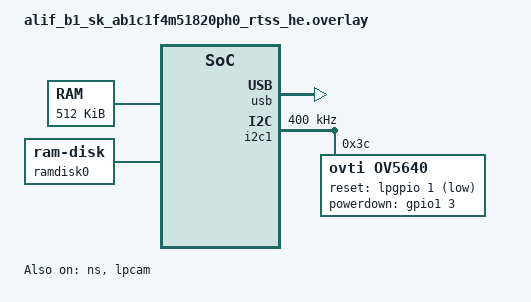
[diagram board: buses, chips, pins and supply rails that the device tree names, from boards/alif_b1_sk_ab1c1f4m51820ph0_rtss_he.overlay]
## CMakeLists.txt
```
# Copyright (C) 2026 Alif Semiconductor
# SPDX-License-Identifier: Apache-2.0

cmake_minimum_required(VERSION 3.20.0)
find_package(Zephyr REQUIRED HINTS $ENV{ZEPHYR_BASE})
project(video_usbout)

include(${ZEPHYR_BASE}/samples/subsys/usb/common/common.cmake)
FILE(GLOB app_sources src/*c)
target_sources(app PRIVATE ${app_sources})
```

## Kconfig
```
# Copyright (C) 2026 Alif Semiconductor
# SPDX-License-Identifier: Apache-2.0

# Source common USB sample options used to initialize USB device stack.
source "samples/subsys/usb/common/Kconfig.sample_usbd"

config VIDEO_USBOUT_INTERACTIVE_CONFIG
	bool "Interactive OV5640 register configuration over UART"
	help
	  When enabled, the sample drops into a UART menu after sensor
	  initialization. The menu reads back the current values of a
	  curated set of OV5640 registers (AWB mode and R/G/B gains,
	  AEC mode and PK exposure, AGC PK gain, JPEG Q factor) and lets
	  the user override them register by register. Press 'c' to leave
	  the menu and continue to capture with the chosen values.

source "Kconfig.zephyr"
```

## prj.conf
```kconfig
# Copyright (C) 2026 Alif Semiconductor
# SPDX-License-Identifier: Apache-2.0

# Video
CONFIG_VIDEO=y
CONFIG_LOG=y
CONFIG_PRINTK=y
CONFIG_STDOUT_CONSOLE=y
CONFIG_I2C_TARGET=y
CONFIG_I2C=y
CONFIG_I2C_DW_CLOCK_SPEED=100
CONFIG_SYS_HEAP_AUTO=y

# USB Mass Storage (new USB device stack, required for DWC3)
CONFIG_USB_DEVICE_STACK_NEXT=y
CONFIG_USBD_MSC_CLASS=y
CONFIG_SAMPLE_USBD_PID=0x0008
CONFIG_SAMPLE_USBD_PRODUCT="Alif Video Capture"
CONFIG_MAIN_STACK_SIZE=2048

# RAM Disk
CONFIG_DISK_ACCESS=y
CONFIG_DISK_DRIVER_RAM=y

# FAT Filesystem
CONFIG_FILE_SYSTEM=y
CONFIG_FAT_FILESYSTEM_ELM=y

# Quiet the USB stack — keep warnings/errors but drop the per-transfer INFOs.
CONFIG_UDC_DRIVER_LOG_LEVEL_ERR=y
CONFIG_USBD_LOG_LEVEL_ERR=y
CONFIG_USBD_MSC_LOG_LEVEL_ERR=y

# Console line input — only used by VIDEO_USBOUT_INTERACTIVE_CONFIG, but
# CONSOLE_GETLINE is a Kconfig choice symbol so we can't `select` it from
# our sample option; enable it here so the menu is available when the
# user flips VIDEO_USBOUT_INTERACTIVE_CONFIG on.
CONFIG_VIDEO_USBOUT_INTERACTIVE_CONFIG=y
CONFIG_CONSOLE_SUBSYS=y
CONFIG_CONSOLE_GETLINE=y
```

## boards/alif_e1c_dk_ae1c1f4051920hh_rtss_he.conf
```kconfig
# Must be slightly larger than JPEG_CAPTURE_MAX_BYTES in main.c to cover
# k_heap block header and alignment overhead (typically 8-16 bytes).
# 280 KB data + 1 KB overhead = 287744
CONFIG_VIDEO_BUFFER_POOL_SZ_MAX=431616
CONFIG_VIDEO_BUFFER_POOL_NUM_MAX=1
```

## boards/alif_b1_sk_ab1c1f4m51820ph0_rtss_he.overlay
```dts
/* Copyright (C) 2026 Alif Semiconductor - All Rights Reserved.
 * Use, distribution and modification of this code is permitted under the
 * terms stated in the Alif Semiconductor Software License Agreement
 *
 * You should have received a copy of the Alif Semiconductor Software
 * License Agreement with this file. If not, please write to:
 * contact@alifsemi.com, or visit: https://alifsemi.com/license
 *
 */

#include <dt-bindings/pinctrl/balletto-pinctrl.h>
#include <dt-bindings/i2c/i2c.h>
#include <dt-bindings/gpio/gpio.h>
#include <dt-bindings/video/video-interfaces.h>

/*
 * DTCM is 1536K (0x20000000..0x20180000). B1 layout for this sample:
 *
 *   [0x20000000 .. 0x2000A000)   40K  reserved_dtcm
 *   [0x2000A000 .. 0x20020000)        Zephyr core (.data/.bss/heap/stacks;
 *                                     only ~18K used)
 *   [0x20020000 .. 0x200A0000)  512K  RAMDISK: USB MSC RAM disk (ram-region)
 *   [0x200A0000 .. 0x200C0000)  128K  UNUSABLE on B1: this DTCM bank is not
 *                                     backed - writes fault (see RAM disk note)
 *   [0x200C0000 .. 0x20180000)  768K  NON_SECURE0 (this node): USB DMA
 *                                     buffers + video capture pool
 *                                     (.alif_ns section, soc/.../alif_ns.ld)
 *
 * Do NOT shrink the &dtcm node reg to carve these out: local_to_global()
 * (modules/hal/alif) maps DTCM local addresses to the global bus address every
 * DMA master (CPI, USB, ...) uses, via DT_REG_SIZE(dtcm). A short reg puts
 * NON_SECURE0 (0x200C0000) outside that range, so the CPI/USB DMA writes to an
 * untranslated address and the bus returns DECERR (AXI BRESP=3). RAMDISK and
 * NON_SECURE0 therefore overlap the full DTCM/zephyr,sram space but sit at fixed
 * addresses the kernel leaves unused - as .alif_ns already does.
 *
 * The video pool (camera DMA target) and the USB buffers must live in
 * NON_SECURE0, so growing the capture buffer means growing this region.
 *
 * CRITICAL: the base AND size must be aligned to the DTCM TGU block size.
 * At boot sau_tcm_ns_setup() (modules/hal/alif) marks this region non-secure
 * in BOTH the SAU (exact, 32-byte granular) and the TGU (whole DTCM blocks,
 * via integer division - see tgu.c). If the base is not block-aligned the
 * TGU marks the partial block below it non-secure while the SAU keeps it
 * secure; any secure access into that window then faults (BusFault/MemManage).
 * The DTCM TGU block on B1 is 128K; 0x200C0000 is 768K (6*128K) from the DTCM
 * base, which is block-aligned. Do not give this an unaligned base.
 *
 * Keep in sync with CONFIG_VIDEO_BUFFER_POOL_SZ_MAX (.conf),
 * JPEG_CAPTURE_MAX_BYTES (main.c) and the RAM disk size below.
 */
ns: &ns {
	status = "okay";
	reg = < 0x200C0000 DT_SIZE_K(768)>;
};

/* USB */
zephyr_udc0: &usb {
	status = "okay";
};

/*
 * RAM Disk for USB MSC. The balletto SoC linker force-routes .bss.disk_buf_0
 * into NON_SECURE0 (soc/.../alif_ns.ld), where it would collide with the 673K
 * video pool. Give the disk its own DTCM region via ram-region instead: with a
 * ram-region phandle the driver emits no disk_buf_0 symbol (ramdisk.c), so that
 * KEEP line matches nothing and the shared SoC linker needs no edit.
 *
 * The region is 512K and ends at 0x200A0000: although &dtcm claims 1496K, the
 * 128K DTCM bank at 0x200A0000..0x200C0000 is not backed on B1 (a write there
 * faults with a precise bus error - confirmed by memset), so the disk must stop
 * below it. 512K holds a ~470K JPEG + FAT; a larger frame (up to the 672K
 * JPEG_CAPTURE_MAX_BYTES worst case) is dropped by the sample's short-write
 * check rather than corrupting memory. The region overlaps zephyr,sram but the
 * kernel (only ~18K of core .bss, no large heap) never reaches it - see the
 * DECERR note above for why &dtcm stays full.
 */
/ {
	ramdisk_mem: memory@20020000 {
		compatible = "zephyr,memory-region";
		reg = <0x20020000 DT_SIZE_K(512)>;
		zephyr,memory-region = "RAMDISK";
	};

	ramdisk0 {
		compatible = "zephyr,ram-disk";
		ram-region = <&ramdisk_mem>;
		disk-name = "RAM";
		sector-size = <512>;
		sector-count = <1024>;
	};
};

/*
 * Override gpio1 pinctrl to exclude P1_0 (JTAG_TMS), P1_1 (JTAG_TDI) and
 * P1_2 (JTAG_TDO) which are connected to the JTAG debug connector on the
 * B1 SK board. The default pinctrl_gpio1 covers the full port and would
 * remux those pads to GPIO, breaking the debug interface.
 */
&pinctrl {
	pinctrl_gpio1_video: pinctrl_gpio1_video {
		group0 {
			pinmux = <PIN_P1_3__GPIO>,
				 <PIN_P1_4__GPIO>,
				 <PIN_P1_5__GPIO>,
				 <PIN_P1_6__GPIO>,
				 <PIN_P1_7__GPIO>;
			read-enable = <0x1>;
		};
	};
};

&gpio1 {
	pinctrl-0 = <&pinctrl_gpio1_video>;
	status = "okay";
};

&lpgpio {
	status = "okay";
};

&i2c1 {
	status = "okay";
	clock-frequency = <I2C_BITRATE_FAST>;
	hcnt-offset = <10>;
	lcnt-offset = <10>;

	ov5640: ov5640@3c{
		compatible = "ovti,ov5640";
		reg = <0x3c>;
		status = "okay";
		reset-gpios = <&lpgpio 1 GPIO_ACTIVE_LOW>;
		powerdown-gpios = <&gpio1 3 GPIO_ACTIVE_HIGH>;

		port {
			ov5640_ep_out: endpoint {
				bus-type = <VIDEO_BUS_TYPE_PARALLEL>;
				remote-endpoint-label = "lpcam_ep_in";
			};
		};
	};
};

&lpcam {
	status = "okay";
	cpi-interface = "parallel";
	ports {
		#address-cells = <1>;
		#size-cells = <0>;

		/* Camera Input Endpoint. For LP-CAM it is only camera */
		port@0 {
			reg = <0>;
			lpcam_ep_in: endpoint {
				remote-endpoint-label = "ov5640_ep_out";
			};
		};

		/* Video buffer output endpoint. */
		port@1 {
			reg = <1>;
			cam_mem_ep_out: endpoint {
				remote-endpoint-label = "application";
			};
		};
	};
};
```

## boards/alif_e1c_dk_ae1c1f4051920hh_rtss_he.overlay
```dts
/* Copyright (C) 2026 Alif Semiconductor - All Rights Reserved.
 * Use, distribution and modification of this code is permitted under the
 * terms stated in the Alif Semiconductor Software License Agreement
 *
 * You should have received a copy of the Alif Semiconductor Software
 * License Agreement with this file. If not, please write to:
 * contact@alifsemi.com, or visit: https://alifsemi.com/license
 *
 */

#include <dt-bindings/pinctrl/balletto-pinctrl.h>
#include <dt-bindings/i2c/i2c.h>
#include <dt-bindings/gpio/gpio.h>
#include <dt-bindings/video/video-interfaces.h>

&ns {
	status = "okay";
};

/* USB */
zephyr_udc0: &usb {
	status = "okay";
};

/* RAM Disk for USB MSC - sized for captured image + FAT overhead */
/ {
	ramdisk0 {
		compatible = "zephyr,ram-disk";
		disk-name = "RAM";
		sector-size = <512>;
		sector-count = <600>;
	};
};

/* Camera */
&i2c0 {
	status = "okay";

	mt9m114: mt9m114@48{
		compatible = "aptina,mt9m114";
		reg = <0x48>;
		status = "okay";

		port {
			mt9m114_ep_out: endpoint {
				bus-type = <VIDEO_BUS_TYPE_PARALLEL>;
				remote-endpoint-label = "lpcam_ep_in";
			};
		};
	};
};

&lpcam {
	status = "okay";
	cpi-interface = "parallel";
	ports {
		#address-cells = <1>;
		#size-cells = <0>;

		port@0 {
			reg = <0>;
			lpcam_ep_in: endpoint {
				remote-endpoint-label = "mt9m114_ep_out";
			};
		};

		port@1 {
			reg = <1>;
			cam_mem_ep_out: endpoint {
				remote-endpoint-label = "application";
			};
		};
	};
};
```

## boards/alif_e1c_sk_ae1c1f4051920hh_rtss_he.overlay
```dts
/* Copyright (C) 2026 Alif Semiconductor - All Rights Reserved.
 * Use, distribution and modification of this code is permitted under the
 * terms stated in the Alif Semiconductor Software License Agreement
 *
 * You should have received a copy of the Alif Semiconductor Software
 * License Agreement with this file. If not, please write to:
 * contact@alifsemi.com, or visit: https://alifsemi.com/license
 *
 */

#include <dt-bindings/pinctrl/ensemble-e1c-pinctrl.h>
#include <dt-bindings/i2c/i2c.h>
#include <dt-bindings/gpio/gpio.h>
#include <dt-bindings/video/video-interfaces.h>

/*
 * DTCM is 1536K (0x20000000..0x20180000), split at 0x200C0000:
 *
 *   [0x20000000 .. 0x200C0000)  768K  Zephyr core (.data/.bss/heap/stacks)
 *                                     + the USB MSC RAM disk (disk_buf_0)
 *   [0x200C0000 .. 0x20180000)  768K  NON_SECURE0 (this node): USB DMA
 *                                     buffers + video capture pool
 *                                     (.alif_ns section, soc/.../alif_ns.ld)
 *
 * The video pool (camera DMA target) and the USB buffers must live in
 * NON_SECURE0, so growing the capture buffer means growing this region.
 *
 * CRITICAL: the base AND size must be aligned to the DTCM TGU block size.
 * At boot sau_tcm_ns_setup() (modules/hal/alif) marks this region non-secure
 * in BOTH the SAU (exact, 32-byte granular) and the TGU (whole DTCM blocks,
 * via integer division - see tgu.c). If the base is not block-aligned the
 * TGU marks the partial block below it non-secure while the SAU keeps it
 * secure; any secure access into that window then faults (BusFault/MemManage).
 * The DTCM TGU block on E1C is >= 64K; 0x200C0000 is 256K-aligned, which is
 * safe for any plausible block size. Do not give this an unaligned base.
 *
 * Keep in sync with CONFIG_VIDEO_BUFFER_POOL_SZ_MAX (.conf),
 * JPEG_CAPTURE_MAX_BYTES (main.c) and the RAM disk size below.
 */
ns: &ns {
	status = "okay";
	reg = < 0x200C0000 DT_SIZE_K(768)>;
};

/* USB */
zephyr_udc0: &usb {
	status = "okay";
};

/*
 * RAM Disk for USB MSC - holds the captured JPEG plus FAT overhead, so it
 * must be at least as large as the capture buffer (JPEG_CAPTURE_MAX_BYTES).
 * Lives in plain .bss below NON_SECURE0. 1440 * 512 = 720K = 672K capture
 * buffer + 48K FAT12/16 overhead.
 */
/ {
	ramdisk0 {
		compatible = "zephyr,ram-disk";
		disk-name = "RAM";
		sector-size = <512>;
		sector-count = <1440>;
	};
};

/*
 * Override gpio1 pinctrl to exclude P1_0 (JTAG_TMS), P1_1 (JTAG_TDI) and
 * P1_2 (JTAG_TDO) which are connected to the JTAG debug connector on the
 * E1C SK board. The default pinctrl_gpio1 covers the full port and would
 * remux those pads to GPIO, breaking the debug interface.
 */
&pinctrl {
	pinctrl_gpio1_video: pinctrl_gpio1_video {
		group0 {
			pinmux = <PIN_P1_3__GPIO>,
				 <PIN_P1_4__GPIO>,
				 <PIN_P1_5__GPIO>,
				 <PIN_P1_6__GPIO>,
				 <PIN_P1_7__GPIO>;
			read-enable = <0x1>;
		};
	};
};

&gpio1 {
	pinctrl-0 = <&pinctrl_gpio1_video>;
	status = "okay";
};

&lpgpio {
	status = "okay";
};

&i2c1 {
	status = "okay";
	clock-frequency = <I2C_BITRATE_FAST>;
	hcnt-offset = <10>;
	lcnt-offset = <10>;

	ov5640: ov5640@3c{
		compatible = "ovti,ov5640";
		reg = <0x3c>;
		status = "okay";
		reset-gpios = <&lpgpio 1 GPIO_ACTIVE_LOW>;
		powerdown-gpios = <&gpio1 3 GPIO_ACTIVE_HIGH>;

		port {
			ov5640_ep_out: endpoint {
				bus-type = <VIDEO_BUS_TYPE_PARALLEL>;
				remote-endpoint-label = "lpcam_ep_in";
			};
		};
	};
};

&lpcam {
	status = "okay";
	cpi-interface = "parallel";
	ports {
		#address-cells = <1>;
		#size-cells = <0>;

		/* Camera Input Endpoint. For LP-CAM it is only camera */
		port@0 {
			reg = <0>;
			lpcam_ep_in: endpoint {
				remote-endpoint-label = "ov5640_ep_out";
			};
		};

		/* Video buffer output endpoint. */
		port@1 {
			reg = <1>;
			cam_mem_ep_out: endpoint {
				remote-endpoint-label = "application";
			};
		};
	};
};
```

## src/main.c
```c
/*
 * Copyright (C) 2026 Alif Semiconductor.
 * SPDX-License-Identifier: Apache-2.0
 *
 * OV5640 JPEG capture exposed as a file on USB mass storage.
 *
 * On boot the camera pipeline is initialized, one snapshot is captured,
 * written to a FAT filesystem on a RAM disk and exposed over USB MSC so
 * the host PC sees it as a removable drive containing capture.jpg.
 */

#include <sample_usbd.h>

#include <zephyr/kernel.h>
#include <zephyr/device.h>
#include <zephyr/drivers/video.h>
#include <zephyr/drivers/gpio.h>
#include <zephyr/usb/usbd.h>
#include <zephyr/usb/class/usbd_msc.h>
#include <zephyr/fs/fs.h>
#include <ff.h>
#include <soc_common.h>
#include <se_service.h>
#include <string.h>

#ifdef CONFIG_VIDEO_USBOUT_INTERACTIVE_CONFIG
#include "cam_config.h"
#endif

#include <zephyr/logging/log.h>
LOG_MODULE_REGISTER(video_usbout, LOG_LEVEL_INF);

/*
 * JPEG capture buffer size, maximised for this board. The buffer is carved
 * from the video pool in the NON_SECURE0 region, and the captured frame is
 * stored on the USB RAM disk, so this value is bounded by both:
 *   - CONFIG_VIDEO_BUFFER_POOL_SZ_MAX (board .conf) must be this plus ~1.5 KB
 *     for k_heap block headers / alignment overhead.
 *   - the RAM disk (.overlay) must be at least this big plus FAT overhead.
 * Keep all three in sync. See the .overlay for the DTCM memory budget.
 */
#define JPEG_CAPTURE_MAX_BYTES (672U * 1024U)

/*
 * Alignment of the capture buffer in DTCM. The CPI/LPCAM driver only requires
 * 8-byte alignment for the AXI frame address, but on enqueue it does a
 * sys_cache_data_flush_and_invd_range() over the whole buffer. Over-aligning
 * the start to 128 bytes (and JPEG_CAPTURE_MAX_BYTES is a multiple of 128, so
 * the end lands on a boundary too) keeps that cache maintenance from touching
 * the neighbouring USB buffers / heap metadata in the NON_SECURE0 region.
 */
#define CAPTURE_BUF_ALIGN 128U

#define CAPTURE_FILE_PATH "/RAM:/capture.jpg"

USBD_DEFINE_MSC_LUN(ram, "RAM", "Alif", "VideoCapture", "0.01");

static FATFS fat_fs;
static struct fs_mount_t fs_mnt = {
	.type = FS_FATFS,
	.fs_data = &fat_fs,
	.mnt_point = "/RAM:",
};

/*
 * Scan a captured buffer for the JPEG EOI marker and report the compressed
 * size. Parses past the SOS (Start of Scan) marker first so an EOI inside
 * an EXIF thumbnail is not mistakenly reported. JPEG byte-stuffing
 * guarantees 0xFF 0xD9 cannot appear as a false positive within the
 * entropy-coded data.
 */
static int find_jpeg_size(const uint8_t *bytes, size_t bsize)
{
	int scan_from = 2;
	int pos = 2;

	if (bytes[0] != 0xFF || bytes[1] != 0xD8) {
		LOG_ERR("No JPEG SOI marker (got %02x %02x)",
			bytes[0], bytes[1]);
		return -EIO;
	}

	while (pos < (int)bsize - 3) {
		if (bytes[pos] != 0xFF) {
			break;
		}
		uint8_t marker = bytes[pos + 1];

		if (marker == 0xDA) {
			uint16_t seg_len =
				((uint16_t)bytes[pos + 2] << 8) |
				bytes[pos + 3];
			scan_from = pos + 2 + seg_len;
			break;
		}
		if (marker == 0x00 || marker == 0x01 ||
		    (marker >= 0xD0 && marker <= 0xD9)) {
			pos += 2;
			continue;
		}
		uint16_t seg_len =
			((uint16_t)bytes[pos + 2] << 8) | bytes[pos + 3];
		pos += 2 + seg_len;
	}

	for (int j = scan_from; j < (int)bsize - 1; j++) {
		if (bytes[j] == 0xFF && bytes[j + 1] == 0xD9) {
			return j + 2;
		}
	}

	LOG_ERR("JPEG EOI not found in %zu byte buffer", bsize);
	return -EIO;
}

static int capture_one_jpeg(const struct device *video,
			    struct video_buffer *buf, size_t bsize)
{
	struct video_buffer *vbuf;
	int jpeg_size;
	int ret;

	ret = video_enqueue(video, VIDEO_EP_OUT, buf);
	if (ret) {
		LOG_ERR("Unable to enqueue buf: %d", ret);
		return ret;
	}

	ret = video_stream_start(video);
	if (ret) {
		LOG_ERR("Unable to start capture: %d", ret);
		return ret;
	}
	LOG_INF("Capture started");

	/*
	 * The CPI driver stops capture on the 2nd VSYNC (end-of-frame) and
	 * moves the buffer to fifo_out. Block on video_dequeue until that
	 * happens, then scan the buffer for the JPEG EOI marker.
	 */
	ret = video_dequeue(video, VIDEO_EP_OUT, &vbuf, K_FOREVER);
	if (ret) {
		LOG_ERR("Unable to dequeue video buf: %d", ret);
		return ret;
	}
	LOG_INF("Frame captured, scanning for JPEG EOI...");

	jpeg_size = find_jpeg_size(vbuf->buffer, bsize);
	if (jpeg_size < 0) {
		return jpeg_size;
	}

	vbuf->bytesused = jpeg_size;
	LOG_INF("JPEG EOI at offset %d (%d KB), timestamp %u ms",
		jpeg_size, jpeg_size / 1024, vbuf->timestamp);

	video_flush(video, VIDEO_EP_OUT, false);
	ret = video_stream_stop(video);
	if (ret) {
		LOG_ERR("Unable to stop capture: %d", ret);
	}
	return 0;
}

static int write_capture_to_file(const struct video_buffer *vbuf)
{
	struct fs_file_t file;
	ssize_t written;
	int ret;

	fs_file_t_init(&file);
	ret = fs_open(&file, CAPTURE_FILE_PATH, FS_O_CREATE | FS_O_WRITE);
	if (ret) {
		LOG_ERR("Failed to open %s: %d", CAPTURE_FILE_PATH, ret);
		return ret;
	}

	written = fs_write(&file, vbuf->buffer, vbuf->bytesused);
	if (written < 0) {
		LOG_ERR("Failed to write %s: %d",
			CAPTURE_FILE_PATH, (int)written);
		fs_close(&file);
		return (int)written;
	}

	fs_close(&file);

	if ((size_t)written < vbuf->bytesused) {
		LOG_ERR("Short write to %s: %d of %u bytes (disk full?)",
			CAPTURE_FILE_PATH, (int)written, vbuf->bytesused);
		return -ENOSPC;
	}

	LOG_INF("Wrote %d bytes to %s", (int)written, CAPTURE_FILE_PATH);
	return 0;
}

int main(void)
{
	struct video_format fmt = { 0 };
	struct video_caps caps;
	const struct device *video;
	struct video_buffer *buf;
	struct usbd_context *sample_usbd;
	size_t bsize;
	int ret;
	int i = 0;

	video = DEVICE_DT_GET_ONE(alif_cam);

	if (!device_is_ready(video)) {
		LOG_ERR("%s: device not ready.", video->name);
		return -1;
	}
	LOG_INF("- Device name: %s", video->name);

	if (video_get_caps(video, VIDEO_EP_OUT, &caps)) {
		LOG_ERR("Unable to retrieve video capabilities");
		return -1;
	}

	while (caps.format_caps[i].pixelformat) {
		const struct video_format_cap *fcap = &caps.format_caps[i];

		if (fcap->pixelformat == VIDEO_PIX_FMT_JPEG) {
			fmt.pixelformat = VIDEO_PIX_FMT_JPEG;
			fmt.width = 2592;
			fmt.height = 1944;
		}
		i++;
	}

	if (fmt.pixelformat == 0) {
		LOG_ERR("JPEG pixel format not advertised by sensor.");
		return -1;
	}

	fmt.pitch = fmt.width;

	ret = video_set_format(video, VIDEO_EP_OUT, &fmt);
	if (ret) {
		LOG_ERR("Failed to set video format: %d", ret);
		return -1;
	}
	LOG_INF("- format: JPEG %ux%u", fmt.width, fmt.height);

	bsize = MIN((size_t)JPEG_CAPTURE_MAX_BYTES,
		    (size_t)fmt.width * fmt.height);

	buf = video_buffer_aligned_alloc(bsize, CAPTURE_BUF_ALIGN, K_NO_WAIT);
	if (buf == NULL) {
		LOG_ERR("Unable to alloc video buffer");
		return -1;
	}
	LOG_INF("- capture buffer: %zu bytes at 0x%08x",
		bsize, (uint32_t)buf->buffer);

#ifdef CONFIG_VIDEO_USBOUT_INTERACTIVE_CONFIG
	cam_interactive_config();
#endif

#if DT_NODE_EXISTS(DT_NODELABEL(ramdisk_mem))
	/* B1 puts the RAM disk in a NOLOAD ram-region, so the C runtime does not
	 * zero it; DTCM has ECC and a host read of a never-written sector faults
	 * on uninitialised ECC. Prime the whole region so every sector reads back
	 * clean. (E1C keeps the disk in .bss, which is already zeroed.) */
	memset((void *)DT_REG_ADDR(DT_NODELABEL(ramdisk_mem)), 0,
	       DT_REG_SIZE(DT_NODELABEL(ramdisk_mem)));
#endif

	ret = fs_mount(&fs_mnt);
	if (ret) {
		LOG_ERR("Failed to mount FAT filesystem: %d", ret);
		return -1;
	}
	LOG_INF("FAT filesystem mounted on %s", fs_mnt.mnt_point);

	ret = capture_one_jpeg(video, buf, bsize);
	if (ret) {
		return ret;
	}

	ret = write_capture_to_file(buf);
	if (ret) {
		return ret;
	}

	sample_usbd = sample_usbd_init_device(NULL);
	if (sample_usbd == NULL) {
		LOG_ERR("Failed to initialize USB device");
		return -1;
	}

	ret = usbd_enable(sample_usbd);
	if (ret) {
		LOG_ERR("Failed to enable USB: %d", ret);
		return -1;
	}
	LOG_INF("USB mass storage enabled — %s available on host.",
		CAPTURE_FILE_PATH);

	return 0;
}

static int app_set_parameters(void)
{
	run_profile_t runp = { 0 };
	int ret;

	runp.power_domains  = PD_SYST_MASK | PD_SSE700_AON_MASK | PD_DBSS_MASK;
	runp.dcdc_voltage   = 825;
	runp.dcdc_mode      = DCDC_MODE_PWM;
	runp.aon_clk_src    = CLK_SRC_LFXO;
	runp.run_clk_src    = CLK_SRC_PLL;
	runp.vdd_ioflex_3V3 = IOFLEX_LEVEL_1V8;
	runp.cpu_clk_freq   = CLOCK_FREQUENCY_160MHZ;

	runp.memory_blocks = MRAM_MASK;
#if DT_NODE_EXISTS(DT_NODELABEL(sram0))
	runp.memory_blocks |= SRAM0_MASK;
#endif

	runp.phy_pwr_gating  = MIPI_TX_DPHY_MASK | MIPI_RX_DPHY_MASK |
			       MIPI_PLL_DPHY_MASK | LDO_PHY_MASK | USB_PHY_MASK;
	runp.ip_clock_gating = CAMERA_MASK | MIPI_CSI_MASK | MIPI_DSI_MASK |
			       USB_MASK;

	ret = se_service_set_run_cfg(&runp);
	if (ret) {
		__ASSERT(false, "SE: set_run_cfg failed = %d", ret);
		return ret;
	}

	/* LPCAM pixel clock and OV5640 enable-buffer GPIO. */
	sys_write32(0x080001, M55HE_CFG_HE_CAMERA_PIXCLK);

	const struct gpio_dt_spec cam_enbuf =
		GPIO_DT_SPEC_GET(DT_NODELABEL(cam_enbuf), enbuf_gpios);

	gpio_pin_configure_dt(&cam_enbuf, GPIO_OUTPUT_ACTIVE);

	return 0;
}

SYS_INIT(app_set_parameters, PRE_KERNEL_1, 46);
```

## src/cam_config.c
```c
/*
 * Copyright (C) 2026 Alif Semiconductor.
 * SPDX-License-Identifier: Apache-2.0
 *
 * Interactive UART menu to inspect and tweak OV5640 registers before
 * capture. Talks to the sensor directly over the same I2C bus the
 * driver uses — the driver has already powered the sensor up and
 * programmed it in ov5640_set_fmt(), so register writes here override
 * those defaults and survive into the first capture.
 */

#include "cam_config.h"

#include <stdint.h>
#include <stdlib.h>
#include <string.h>

#include <zephyr/kernel.h>
#include <zephyr/device.h>
#include <zephyr/drivers/i2c.h>
#include <zephyr/console/console.h>
#include <zephyr/sys/printk.h>

#define OV5640_NODE DT_NODELABEL(ov5640)
static const struct i2c_dt_spec ov5640_i2c = I2C_DT_SPEC_GET(OV5640_NODE);

struct reg_entry {
	const char *name;
	uint16_t addr;
	uint8_t nbytes;
	const char *hint;
};

/*
 * Registers worth exposing in the menu. Multi-byte entries are written
 * MSB-first using OV5640's natural register layout (e.g. AEC PK EXPOSURE
 * spans 0x3500..0x3502 as 4+8+8 = 20 bits).
 */
static const struct reg_entry regs[] = {
	{ "AWB mode",       0x3406, 1, "bit0: 0=auto, 1=manual" },
	{ "AWB R gain",     0x3400, 2, "12-bit, 0x400 = 1.0x" },
	{ "AWB G gain",     0x3402, 2, "12-bit, 0x400 = 1.0x" },
	{ "AWB B gain",     0x3404, 2, "12-bit, 0x400 = 1.0x" },
	{ "AEC mode",       0x3503, 1, "bit0=AGC manual, bit1=AEC manual" },
	{ "AEC PK exposure", 0x3500, 3, "20-bit, units of 1/16 line" },
	{ "AGC PK gain",    0x350A, 2, "10-bit real gain" },
	{ "JPEG Q factor",  0x4407, 1, "lower 6 bits, lower = better quality" },
};

#define NUM_REGS ARRAY_SIZE(regs)

static int reg_read(uint16_t addr, uint8_t *val)
{
	uint8_t addr_buf[2] = { addr >> 8, addr & 0xFF };

	return i2c_write_read_dt(&ov5640_i2c, addr_buf, 2, val, 1);
}

static int reg_write(uint16_t addr, uint8_t val)
{
	uint8_t buf[3] = { addr >> 8, addr & 0xFF, val };

	return i2c_write_dt(&ov5640_i2c, buf, 3);
}

static int read_entry(const struct reg_entry *e, uint32_t *out)
{
	uint32_t v = 0;

	for (uint8_t i = 0; i < e->nbytes; i++) {
		uint8_t byte = 0;
		int ret = reg_read(e->addr + i, &byte);

		if (ret) {
			return ret;
		}
		v = (v << 8) | byte;
	}
	*out = v;
	return 0;
}

static int write_entry(const struct reg_entry *e, uint32_t val)
{
	for (int i = e->nbytes - 1; i >= 0; i--) {
		int ret = reg_write(e->addr + i, val & 0xFF);

		if (ret) {
			return ret;
		}
		val >>= 8;
	}
	return 0;
}

static void show_table(void)
{
	printk("\n== OV5640 Configuration ==\n");
	for (size_t i = 0; i < NUM_REGS; i++) {
		uint32_t v = 0;
		int ret = read_entry(&regs[i], &v);
		int width = regs[i].nbytes * 2;

		if (ret) {
			printk(" [%u] %-16s @%04x = <read err %d>\n",
			       (unsigned)i, regs[i].name, regs[i].addr, ret);
			continue;
		}
		printk(" [%u] %-16s @%04x = 0x%0*x  (%s)\n",
		       (unsigned)i, regs[i].name, regs[i].addr,
		       width, v, regs[i].hint);
	}
	printk("\n r) re-read   c) continue & capture   q) skip menu\n");
}

/*
 * Parse a number written as "0x..." (hex) or plain decimal. Returns 0 on
 * success and -EINVAL when no digits were consumed or trailing garbage
 * follows the number.
 */
static int parse_number(const char *s, uint32_t *out)
{
	char *end = NULL;
	unsigned long v;
	int base = 10;

	while (*s == ' ' || *s == '\t') {
		s++;
	}
	if (s[0] == '0' && (s[1] == 'x' || s[1] == 'X')) {
		base = 16;
		s += 2;
	}
	if (*s == '\0') {
		return -EINVAL;
	}

	v = strtoul(s, &end, base);
	if (end == s) {
		return -EINVAL;
	}
	while (*end == ' ' || *end == '\t' || *end == '\r' || *end == '\n') {
		end++;
	}
	if (*end != '\0') {
		return -EINVAL;
	}
	*out = (uint32_t)v;
	return 0;
}

static void edit_entry(size_t idx)
{
	const struct reg_entry *e = &regs[idx];
	uint32_t cur = 0;
	uint32_t new_val;
	int ret;
	char *line;
	int width = e->nbytes * 2;

	ret = read_entry(e, &cur);
	if (ret) {
		printk("Read failed: %d\n", ret);
		return;
	}

	printk("\n%s @%04x — current 0x%0*x (%s)\n",
	       e->name, e->addr, width, cur, e->hint);
	printk("New value (decimal or 0x..), empty to keep: ");
	line = console_getline();
	if (line == NULL || line[0] == '\0') {
		printk("Unchanged.\n");
		return;
	}

	if (parse_number(line, &new_val) != 0) {
		printk("Invalid number: '%s'\n", line);
		return;
	}

	if (e->nbytes < 4 && new_val >= (1U << (e->nbytes * 8))) {
		printk("Value 0x%x does not fit in %u byte(s)\n",
		       new_val, e->nbytes);
		return;
	}

	ret = write_entry(e, new_val);
	if (ret) {
		printk("Write failed: %d\n", ret);
		return;
	}

	uint32_t verify = 0;

	if (read_entry(e, &verify) == 0) {
		printk("%s set to 0x%0*x (read back 0x%0*x)\n",
		       e->name, width, new_val, width, verify);
	} else {
		printk("%s set to 0x%0*x\n", e->name, width, new_val);
	}
}

int cam_interactive_config(void)
{
	if (!device_is_ready(ov5640_i2c.bus)) {
		printk("Configuration menu: I2C bus not ready\n");
		return -ENODEV;
	}

	console_getline_init();

	printk("\nEntering OV5640 interactive configuration. "
	       "Press 'c' to capture.\n");

	while (true) {
		char *line;
		uint32_t idx;

		show_table();
		printk("> ");
		line = console_getline();
		if (line == NULL) {
			continue;
		}

		while (*line == ' ' || *line == '\t') {
			line++;
		}

		if (line[0] == '\0' || line[0] == 'c' || line[0] == 'C') {
			printk("Continuing to capture...\n");
			return 0;
		}
		if (line[0] == 'q' || line[0] == 'Q') {
			printk("Skipping menu.\n");
			return 0;
		}
		if (line[0] == 'r' || line[0] == 'R') {
			continue;
		}

		if (parse_number(line, &idx) != 0 || idx >= NUM_REGS) {
			printk("Unknown selection: '%s'\n", line);
			continue;
		}
		edit_entry((size_t)idx);
	}
}
```
